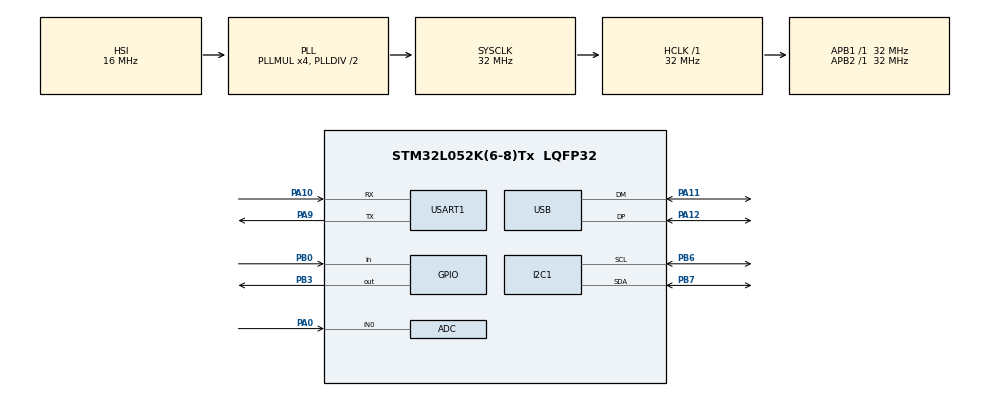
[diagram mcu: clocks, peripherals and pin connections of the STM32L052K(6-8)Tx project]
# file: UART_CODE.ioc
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ADC.ContinuousConvMode=ENABLE
ADC.SamplingTime=ADC_SAMPLETIME_160CYCLES_5
Dma.ADC.0.Direction=DMA_PERIPH_TO_MEMORY
Dma.ADC.0.Instance=DMA1_Channel1
Dma.ADC.0.MemDataAlignment=DMA_MDATAALIGN_HALFWORD
Dma.ADC.0.MemInc=DMA_MINC_ENABLE
Dma.ADC.0.Mode=DMA_CIRCULAR
Dma.ADC.0.PeriphDataAlignment=DMA_PDATAALIGN_HALFWORD
Dma.ADC.0.PeriphInc=DMA_PINC_DISABLE
Dma.ADC.0.Priority=DMA_PRIORITY_LOW
Dma.Request0=ADC
I2C1.Timing=0x00B07CB4
Mcu.Family=STM32L0
Mcu.Name=STM32L052K(6-8)Tx
Mcu.Package=LQFP32
NVIC.DMA1_Channel1_IRQn=true\:0\:0\:false\:true\:true\:1\:false\:true\:true
NVIC.USB_IRQn=true\:0\:0\:false\:false\:true\:false\:true\:true
PA0.Signal=SharedAnalog_PA0
PA10.Mode=Asynchronous
PA10.Signal=USART1_RX
PA11.Mode=Device
PA11.Signal=USB_DM
PA12.Mode=Device
PA12.Signal=USB_DP
PA13.Mode=Serial_Wire
PA13.Signal=SYS_SWDIO
PA14.Mode=Serial_Wire
PA14.Signal=SYS_SWCLK
PA9.Mode=Asynchronous
PA9.Signal=USART1_TX
PB0.GPIO_PuPd=GPIO_PULLUP
PB0.Signal=GPIO_Input
PB3.Signal=GPIO_Output
PB6.Mode=I2C
PB6.Signal=I2C1_SCL
PB7.Mode=I2C
PB7.Signal=I2C1_SDA
ProjectManager.HeapSize=0x200
ProjectManager.StackSize=0x400
ProjectManager.TargetToolchain=STM32CubeIDE
RCC.AHBFreq_Value=32000000
RCC.APB1Freq_Value=32000000
RCC.APB1TimFreq_Value=32000000
RCC.APB2Freq_Value=32000000
RCC.APB2TimFreq_Value=32000000
RCC.HCLKFreq_Value=32000000
RCC.HSI16_VALUE=16000000
RCC.HSI48MClockSelection=RCC_USBCLKSOURCE_HSI48
RCC.HSI48_VALUE=48000000
RCC.HSI_VALUE=16000000
RCC.LSE_VALUE=32768
RCC.MSI_VALUE=2097000
RCC.PLLMUL=RCC_PLLMUL_4
RCC.SYSCLKFreq_VALUE=32000000
RCC.SYSCLKSource=RCC_SYSCLKSOURCE_PLLCLK
RCC.VCOOutputFreq_Value=64000000
SH.SharedAnalog_PA0.0=GPIO_Analog
SH.SharedAnalog_PA0.1=ADC_IN0,IN0
USART1.VirtualMode-Asynchronous=VM_ASYNC
USB_DEVICE.CLASS_NAME_FS=CDC
USB_DEVICE.VirtualMode=Cdc
USB_DEVICE.VirtualModeFS=Cdc_FS
VP_USB_DEVICE_VS_USB_DEVICE_CDC_FS.Mode=CDC_FS
board=custom

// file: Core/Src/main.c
/* USER CODE BEGIN Header */
/**
  ******************************************************************************
  * @file           : main.c
  * @brief          : Main program body
  ******************************************************************************
  * @attention
  *
  * Copyright (c) 2026 STMicroelectronics.
  * All rights reserved.
  *
  * This software is licensed under terms that can be found in the LICENSE file
  * in the root directory of this software component.
  * If no LICENSE file comes with this software, it is provided AS-IS.
  *
  ******************************************************************************
  */
/* USER CODE END Header */
#include "main.h"
#include "usb_device.h"

/* USER CODE BEGIN Includes */
#include "usbd_cdc_if.h"
#include "lcd.h"
#include <stdio.h>
/* USER CODE END Includes */

ADC_HandleTypeDef hadc;
DMA_HandleTypeDef hdma_adc;

I2C_HandleTypeDef hi2c1;

UART_HandleTypeDef huart1;

/* USER CODE BEGIN PV */
volatile uint16_t adc_val;
char buffer[20];
/* USER CODE END PV */

void SystemClock_Config(void);
static void MX_GPIO_Init(void);
static void MX_DMA_Init(void);
static void MX_USART1_UART_Init(void);
static void MX_I2C1_Init(void);
static void MX_ADC_Init(void);
static void MX_NVIC_Init(void);

int main(void)
{

  /* MCU Configuration--------------------------------------------------------*/

  /* Reset of all peripherals, Initializes the Flash interface and the Systick. */
  HAL_Init();

  /* Configure the system clock */
  SystemClock_Config();

  /* Initialize all configured peripherals */
  MX_GPIO_Init();
  MX_DMA_Init();
  MX_USB_DEVICE_Init();
  MX_USART1_UART_Init();
  MX_I2C1_Init();
  MX_ADC_Init();

  /* Initialize interrupts */
  MX_NVIC_Init();
  /* USER CODE BEGIN 2 */
//uint8_t rx_data;

          lcd_init(&hi2c1);                                     // initialize LCD display (I2C connected)
          lcd_write_cmd(&hi2c1,0X01);             // clear display
          lcd_write_cmd(&hi2c1, 0X0C);                // hide cursor
          lcd_goto_rc(&hi2c1, 0, 0);                            // cursor to first row first col
          lcd_putstr(&hi2c1, "Room Temp Cont");
          HAL_Delay(2000);// print text
          lcd_write_cmd(&hi2c1,0X01);             // clear display

          HAL_ADC_Start_DMA(&hadc, (uint32_t*)&adc_val, 1);

  /* USER CODE END 2 */

  /* Infinite loop */
  /* USER CODE BEGIN WHILE */
  while (1)
  {

      HAL_ADC_Start(&hadc);

	  int temp =  (adc_val * 100) / 4095;

	  sprintf(buffer,"Temp: %0d\r\n", temp);
	  CDC_Transmit_FS((uint8_t*)buffer,strlen(buffer));
	  HAL_Delay(100);
//
//        if(HAL_GPIO_ReadPin(GPIOB, GPIO_PIN_0)== GPIO_PIN_RESET){
//	      uint8_t msg[] = "Toggled\r\n";
//	      CDC_Transmit_FS(msg, sizeof(msg));
//
//	      HAL_Delay(1000);
//        }

//	  HAL_UART_Receive(&huart1, &rx_data, 1, HAL_MAX_DELAY);
//
//	      if(rx_data == '1')
//	          HAL_GPIO_WritePin(GPIOB, GPIO_PIN_3, GPIO_PIN_SET);
//
//	      else if(rx_data == '0')
//	          HAL_GPIO_WritePin(GPIOB, GPIO_PIN_3, GPIO_PIN_RESET);
    /* USER CODE END WHILE */

  }
}

void SystemClock_Config(void)
{
  RCC_OscInitTypeDef RCC_OscInitStruct = {0};
  RCC_ClkInitTypeDef RCC_ClkInitStruct = {0};
  RCC_PeriphCLKInitTypeDef PeriphClkInit = {0};

  /** Configure the main internal regulator output voltage
  */
  __HAL_PWR_VOLTAGESCALING_CONFIG(PWR_REGULATOR_VOLTAGE_SCALE1);

  /** Initializes the RCC Oscillators according to the specified parameters
  * in the RCC_OscInitTypeDef structure.
  */
  RCC_OscInitStruct.OscillatorType = RCC_OSCILLATORTYPE_HSI|RCC_OSCILLATORTYPE_HSI48;
  RCC_OscInitStruct.HSIState = RCC_HSI_ON;
  RCC_OscInitStruct.HSICalibrationValue = RCC_HSICALIBRATION_DEFAULT;
  RCC_OscInitStruct.HSI48State = RCC_HSI48_ON;
  RCC_OscInitStruct.PLL.PLLState = RCC_PLL_ON;
  RCC_OscInitStruct.PLL.PLLSource = RCC_PLLSOURCE_HSI;
  RCC_OscInitStruct.PLL.PLLMUL = RCC_PLLMUL_4;
  RCC_OscInitStruct.PLL.PLLDIV = RCC_PLLDIV_2;
  if (HAL_RCC_OscConfig(&RCC_OscInitStruct) != HAL_OK)
  {
    Error_Handler();
  }

  /** Initializes the CPU, AHB and APB buses clocks
  */
  RCC_ClkInitStruct.ClockType = RCC_CLOCKTYPE_HCLK|RCC_CLOCKTYPE_SYSCLK
                              |RCC_CLOCKTYPE_PCLK1|RCC_CLOCKTYPE_PCLK2;
  RCC_ClkInitStruct.SYSCLKSource = RCC_SYSCLKSOURCE_PLLCLK;
  RCC_ClkInitStruct.AHBCLKDivider = RCC_SYSCLK_DIV1;
  RCC_ClkInitStruct.APB1CLKDivider = RCC_HCLK_DIV1;
  RCC_ClkInitStruct.APB2CLKDivider = RCC_HCLK_DIV1;

  if (HAL_RCC_ClockConfig(&RCC_ClkInitStruct, FLASH_LATENCY_1) != HAL_OK)
  {
    Error_Handler();
  }
  PeriphClkInit.PeriphClockSelection = RCC_PERIPHCLK_USART1|RCC_PERIPHCLK_I2C1
                              |RCC_PERIPHCLK_USB;
  PeriphClkInit.Usart1ClockSelection = RCC_USART1CLKSOURCE_PCLK2;
  PeriphClkInit.I2c1ClockSelection = RCC_I2C1CLKSOURCE_PCLK1;
  PeriphClkInit.UsbClockSelection = RCC_USBCLKSOURCE_HSI48;
  if (HAL_RCCEx_PeriphCLKConfig(&PeriphClkInit) != HAL_OK)
  {
    Error_Handler();
  }
}

/**
  * @brief NVIC Configuration.
  * @retval None
  */
static void MX_NVIC_Init(void)
{
  /* DMA1_Channel1_IRQn interrupt configuration */
  HAL_NVIC_SetPriority(DMA1_Channel1_IRQn, 0, 0);
  HAL_NVIC_EnableIRQ(DMA1_Channel1_IRQn);
}

static void MX_ADC_Init(void)
{

  ADC_ChannelConfTypeDef sConfig = {0};

  /** Configure the global features of the ADC (Clock, Resolution, Data Alignment and number of conversion)
  */
  hadc.Instance = ADC1;
  hadc.Init.OversamplingMode = DISABLE;
  hadc.Init.ClockPrescaler = ADC_CLOCK_SYNC_PCLK_DIV2;
  hadc.Init.Resolution = ADC_RESOLUTION_12B;
  hadc.Init.SamplingTime = ADC_SAMPLETIME_160CYCLES_5;
  hadc.Init.ScanConvMode = ADC_SCAN_DIRECTION_FORWARD;
  hadc.Init.DataAlign = ADC_DATAALIGN_RIGHT;
  hadc.Init.ContinuousConvMode = ENABLE;
  hadc.Init.DiscontinuousConvMode = DISABLE;
  hadc.Init.ExternalTrigConvEdge = ADC_EXTERNALTRIGCONVEDGE_NONE;
  hadc.Init.ExternalTrigConv = ADC_SOFTWARE_START;
  hadc.Init.DMAContinuousRequests = DISABLE;
  hadc.Init.EOCSelection = ADC_EOC_SINGLE_CONV;
  hadc.Init.Overrun = ADC_OVR_DATA_PRESERVED;
  hadc.Init.LowPowerAutoWait = DISABLE;
  hadc.Init.LowPowerFrequencyMode = DISABLE;
  hadc.Init.LowPowerAutoPowerOff = DISABLE;
  if (HAL_ADC_Init(&hadc) != HAL_OK)
  {
    Error_Handler();
  }

  /** Configure for the selected ADC regular channel to be converted.
  */
  sConfig.Channel = ADC_CHANNEL_0;
  sConfig.Rank = ADC_RANK_CHANNEL_NUMBER;
  if (HAL_ADC_ConfigChannel(&hadc, &sConfig) != HAL_OK)
  {
    Error_Handler();
  }

}

static void MX_I2C1_Init(void)
{

  hi2c1.Instance = I2C1;
  hi2c1.Init.Timing = 0x00B07CB4;
  hi2c1.Init.OwnAddress1 = 0;
  hi2c1.Init.AddressingMode = I2C_ADDRESSINGMODE_7BIT;
  hi2c1.Init.DualAddressMode = I2C_DUALADDRESS_DISABLE;
  hi2c1.Init.OwnAddress2 = 0;
  hi2c1.Init.OwnAddress2Masks = I2C_OA2_NOMASK;
  hi2c1.Init.GeneralCallMode = I2C_GENERALCALL_DISABLE;
  hi2c1.Init.NoStretchMode = I2C_NOSTRETCH_DISABLE;
  if (HAL_I2C_Init(&hi2c1) != HAL_OK)
  {
    Error_Handler();
  }

  /** Configure Analogue filter
  */
  if (HAL_I2CEx_ConfigAnalogFilter(&hi2c1, I2C_ANALOGFILTER_ENABLE) != HAL_OK)
  {
    Error_Handler();
  }

  /** Configure Digital filter
  */
  if (HAL_I2CEx_ConfigDigitalFilter(&hi2c1, 0) != HAL_OK)
  {
    Error_Handler();
  }

}

static void MX_USART1_UART_Init(void)
{

  huart1.Instance = USART1;
  huart1.Init.BaudRate = 115200;
  huart1.Init.WordLength = UART_WORDLENGTH_8B;
  huart1.Init.StopBits = UART_STOPBITS_1;
  huart1.Init.Parity = UART_PARITY_NONE;
  huart1.Init.Mode = UART_MODE_TX_RX;
  huart1.Init.HwFlowCtl = UART_HWCONTROL_NONE;
  huart1.Init.OverSampling = UART_OVERSAMPLING_16;
  huart1.Init.OneBitSampling = UART_ONE_BIT_SAMPLE_DISABLE;
  huart1.AdvancedInit.AdvFeatureInit = UART_ADVFEATURE_NO_INIT;
  if (HAL_UART_Init(&huart1) != HAL_OK)
  {
    Error_Handler();
  }

}

static void MX_DMA_Init(void)
{

  /* DMA controller clock enable */
  __HAL_RCC_DMA1_CLK_ENABLE();

}

static void MX_GPIO_Init(void)
{
  GPIO_InitTypeDef GPIO_InitStruct = {0};

  /* GPIO Ports Clock Enable */
  __HAL_RCC_GPIOA_CLK_ENABLE();
  __HAL_RCC_GPIOB_CLK_ENABLE();

  /*Configure GPIO pin Output Level */
  HAL_GPIO_WritePin(GPIOB, GPIO_PIN_3, GPIO_PIN_RESET);

  /*Configure GPIO pin : PB0 */
  GPIO_InitStruct.Pin = GPIO_PIN_0;
  GPIO_InitStruct.Mode = GPIO_MODE_INPUT;
  GPIO_InitStruct.Pull = GPIO_PULLUP;
  HAL_GPIO_Init(GPIOB, &GPIO_InitStruct);

  /*Configure GPIO pin : PB3 */
  GPIO_InitStruct.Pin = GPIO_PIN_3;
  GPIO_InitStruct.Mode = GPIO_MODE_OUTPUT_PP;
  GPIO_InitStruct.Pull = GPIO_NOPULL;
  GPIO_InitStruct.Speed = GPIO_SPEED_FREQ_LOW;
  HAL_GPIO_Init(GPIOB, &GPIO_InitStruct);

}

void Error_Handler(void)
{
  __disable_irq();
  while (1)
  {
  }
}
